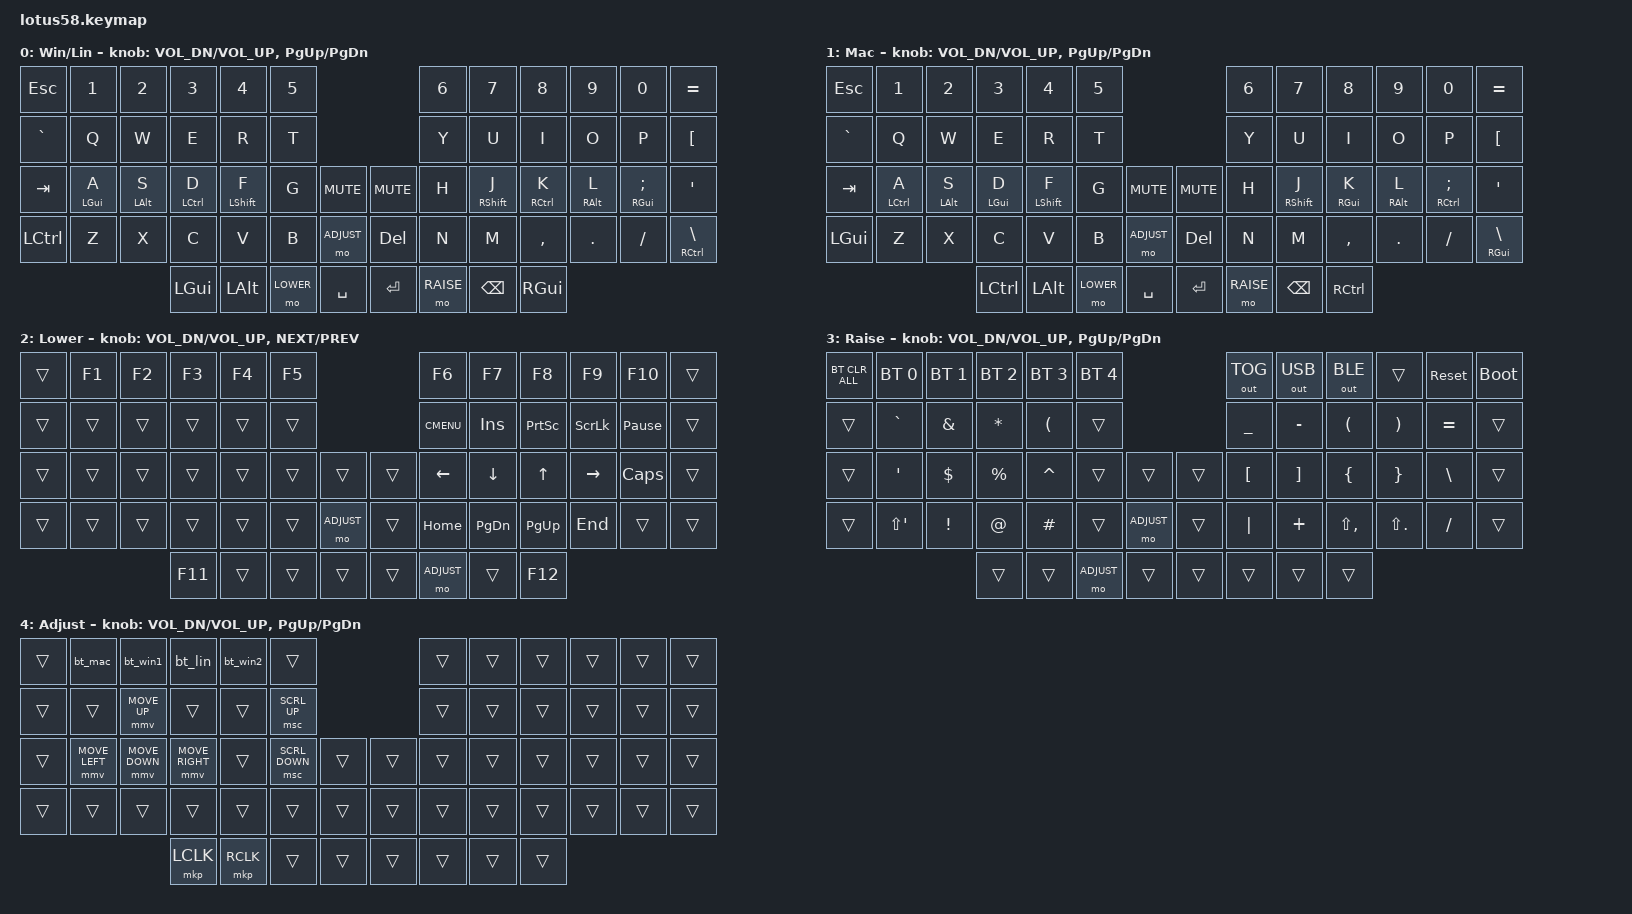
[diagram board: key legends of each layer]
/*
 * Copyright (c) 2022 The ZMK Contributors
 *
 * SPDX-License-Identifier: MIT
 */

#include <behaviors.dtsi>
#include <dt-bindings/zmk/keys.h>
#include <dt-bindings/zmk/bt.h>
#include <dt-bindings/zmk/outputs.h>
#include <dt-bindings/zmk/pointing.h>

#define DEFAULT 0
#define MAC     1
#define LOWER   2
#define RAISE   3
#define ADJUST  4

/ {
    behaviors {
        hml: homerow_mod_left {
            compatible = "zmk,behavior-hold-tap";
            #binding-cells = <2>;
            tapping-term-ms = <200>;
            quick-tap-ms = <125>;
            require-prior-idle-ms = <100>;
            flavor = "balanced";
            hold-trigger-on-release;
            hold-trigger-key-positions = <6 7 8 9 10 11 18 19 20 21 22 23 31 32 33 34 35 36 37 45 46 47 48 49 50 51 52 53 54 55 56 57 58 59>;
            bindings = <&kp>, <&kp>;
        };

        hmr: homerow_mod_right {
            compatible = "zmk,behavior-hold-tap";
            #binding-cells = <2>;
            tapping-term-ms = <200>;
            quick-tap-ms = <125>;
            require-prior-idle-ms = <100>;
            flavor = "balanced";
            hold-trigger-on-release;
            hold-trigger-key-positions = <0 1 2 3 4 5 12 13 14 15 16 17 24 25 26 27 28 29 30 38 39 40 41 42 43 44 52 53 54 55 56 57 58 59>;
            bindings = <&kp>, <&kp>;
        };
    };

    macros {
        bt_mac: bt_mac {
            compatible = "zmk,behavior-macro";
            #binding-cells = <0>;
            bindings = <&bt BT_SEL 0 &to MAC>;
        };
        bt_win1: bt_win1 {
            compatible = "zmk,behavior-macro";
            #binding-cells = <0>;
            bindings = <&bt BT_SEL 1 &to DEFAULT>;
        };
        bt_lin: bt_lin {
            compatible = "zmk,behavior-macro";
            #binding-cells = <0>;
            bindings = <&bt BT_SEL 2 &to DEFAULT>;
        };
        bt_win2: bt_win2 {
            compatible = "zmk,behavior-macro";
            #binding-cells = <0>;
            bindings = <&bt BT_SEL 3 &to DEFAULT>;
        };
    };

    keymap {
        compatible = "zmk,keymap";

        default_layer {
            display-name = "Win/Lin";
// ┌─────────┬─────┬─────┬─────┬──────────┬─────┐                            ┌─────┬──────────┬──────────┬──────────┬──────────┬────────┐
// │   ESC   │  1  │  2  │  3  │    4     │  5  │                            │  6  │    7     │    8     │    9     │    0     │   =    │
// ├─────────┼─────┼─────┼─────┼──────────┼─────┤                            ├─────┼──────────┼──────────┼──────────┼──────────┼────────┤
// │    `    │  Q  │  W  │  E  │    R     │  T  │                            │  Y  │    U     │    I     │    O     │    P     │   [    │
// ├─────────┼─────┼─────┼─────┼──────────┼─────┼──────────┐  ┌─────────────┼─────┼──────────┼──────────┼──────────┼──────────┼────────┤
// │   TAB   │GUI/A│ALT/S│CTL/D│  SHF/F  │  G  │   MUTE   │  │    MUTE     │  H  │  SHF/J  │  CTL/K  │  ALT/L  │  GUI/;  │   '    │
// ├─────────┼─────┼─────┼─────┼──────────┼─────┼──────────┤  ├─────────────┼─────┼──────────┼──────────┼──────────┼──────────┼────────┤
// │  LCTRL  │  Z  │  X  │  C  │    V     │  B  │  ADJUST  │  │     DEL     │  N  │    M     │    ,     │    .     │    /     │ RCTL/\ │
// └─────────┴─────┴─────┴─────┴──────────┴─────┴──────────┘  └─────────────┴─────┴──────────┴──────────┴──────────┴──────────┴────────┘
//                     ┌──────┬──────┬───────┬────────┐      ┌──────┬───────┬──────┬──────┐
//                     │ LGUI │ LALT │ LOWER │  SPC   │      │ ENT  │ RAISE │ BSPC │ RGUI │
//                     └──────┴──────┴───────┴────────┘      └──────┴───────┴──────┴──────┘
            bindings = <
&kp ESC    &kp N1        &kp N2       &kp N3        &kp N4        &kp N5                                   &kp N6  &kp N7        &kp N8        &kp N9       &kp N0          &kp EQUAL
&kp GRAVE  &kp Q         &kp W        &kp E         &kp R         &kp T                                    &kp Y   &kp U         &kp I         &kp O        &kp P           &kp LBKT
&kp TAB    &hml LGUI A   &hml LALT S  &hml LCTRL D  &hml LSHFT F  &kp G   &kp C_MUTE    &kp C_MUTE        &kp H   &hmr RSHFT J  &hmr RCTRL K  &hmr RALT L  &hmr RGUI SEMI  &kp SQT
&kp LCTRL  &kp Z         &kp X        &kp C         &kp V         &kp B   &mo ADJUST     &kp DEL           &kp N   &kp M         &kp COMMA     &kp DOT      &kp FSLH        &mt RCTRL BSLH
                                       &kp LGUI  &kp LALT  &mo LOWER  &kp SPACE    &kp RET  &mo RAISE  &kp BSPC  &kp RGUI
            >;
            sensor-bindings = <&inc_dec_kp C_VOL_DN C_VOL_UP &inc_dec_kp PG_UP PG_DN>;
        };

        mac_layer {
            display-name = "Mac";
// CAGS order: A=Ctl, S=Alt, D=GUI, F=Shft (left); J=Shft, K=GUI, L=Alt, ;=Ctl (right).
// Bottom-left corner: LGUI. Thumbs: LCTRL (was LGUI), RCTRL (was RGUI). Bottom-right mod-tap: RGUI/\.
// ┌─────────┬─────┬─────┬─────┬──────────┬─────┐                            ┌─────┬──────────┬──────────┬──────────┬──────────┬────────┐
// │   ESC   │  1  │  2  │  3  │    4     │  5  │                            │  6  │    7     │    8     │    9     │    0     │   =    │
// ├─────────┼─────┼─────┼─────┼──────────┼─────┤                            ├─────┼──────────┼──────────┼──────────┼──────────┼────────┤
// │    `    │  Q  │  W  │  E  │    R     │  T  │                            │  Y  │    U     │    I     │    O     │    P     │   [    │
// ├─────────┼─────┼─────┼─────┼──────────┼─────┼──────────┐  ┌─────────────┼─────┼──────────┼──────────┼──────────┼──────────┼────────┤
// │   TAB   │CTL/A│ALT/S│GUI/D│  SHF/F  │  G  │   MUTE   │  │    MUTE     │  H  │  SHF/J  │  GUI/K  │  ALT/L  │  CTL/;  │   '    │
// ├─────────┼─────┼─────┼─────┼──────────┼─────┼──────────┤  ├─────────────┼─────┼──────────┼──────────┼──────────┼──────────┼────────┤
// │  LGUI   │  Z  │  X  │  C  │    V     │  B  │  ADJUST  │  │     DEL     │  N  │    M     │    ,     │    .     │    /     │ RGUI/\ │
// └─────────┴─────┴─────┴─────┴──────────┴─────┴──────────┘  └─────────────┴─────┴──────────┴──────────┴──────────┴──────────┴────────┘
//                     ┌───────┬──────┬───────┬────────┐      ┌──────┬───────┬──────┬───────┐
//                     │ LCTRL │ LALT │ LOWER │  SPC   │      │ ENT  │ RAISE │ BSPC │ RCTRL │
//                     └───────┴──────┴───────┴────────┘      └──────┴───────┴──────┴───────┘
            bindings = <
&kp ESC    &kp N1         &kp N2       &kp N3       &kp N4        &kp N5                                   &kp N6  &kp N7        &kp N8       &kp N9       &kp N0           &kp EQUAL
&kp GRAVE  &kp Q          &kp W        &kp E        &kp R         &kp T                                    &kp Y   &kp U         &kp I        &kp O        &kp P            &kp LBKT
&kp TAB    &hml LCTRL A   &hml LALT S  &hml LGUI D  &hml LSHFT F  &kp G   &kp C_MUTE    &kp C_MUTE        &kp H   &hmr RSHFT J  &hmr RGUI K  &hmr RALT L  &hmr RCTRL SEMI  &kp SQT
&kp LGUI   &kp Z          &kp X        &kp C        &kp V         &kp B   &mo ADJUST     &kp DEL           &kp N   &kp M         &kp COMMA    &kp DOT      &kp FSLH         &mt RGUI BSLH
                                        &kp LCTRL  &kp LALT  &mo LOWER  &kp SPACE    &kp RET  &mo RAISE  &kp BSPC  &kp RCTRL
            >;
            sensor-bindings = <&inc_dec_kp C_VOL_DN C_VOL_UP &inc_dec_kp PG_UP PG_DN>;
        };

        lower_layer {
            display-name = "Lower";
// Left side transparent (falls through to default alpha keys).
// Right side: HJKL arrows on home row, Home/PgDn/PgUp/End on Z row.
// ┌─────────┬─────┬─────┬─────┬─────┬─────┐                            ┌───────┬──────┬───────┬──────┬───────┬────────┐
// │         │  F1 │  F2 │  F3 │  F4 │  F5 │                            │  F6   │  F7  │  F8   │  F9  │  F10  │        │
// ├─────────┼─────┼─────┼─────┼─────┼─────┤                            ├───────┼──────┼───────┼──────┼───────┼────────┤
// │         │     │     │     │     │     │                            │ MENU  │ INS  │ PSCR  │ SLCK │ PAUSE │        │
// ├─────────┼─────┼─────┼─────┼─────┼─────┼──────────┐  ┌─────────────┼───────┼──────┼───────┼──────┼───────┼────────┤
// │         │     │     │     │     │     │          │  │             │  ←    │  ↓   │   ↑   │  →   │ CAPS  │        │
// ├─────────┼─────┼─────┼─────┼─────┼─────┼──────────┤  ├─────────────┼───────┼──────┼───────┼──────┼───────┼────────┤
// │         │     │     │     │     │     │  ADJUST  │  │             │ HOME  │ PG↓  │  PG↑  │ END  │       │        │
// └─────────┴─────┴─────┴─────┴─────┴─────┴──────────┘  └─────────────┴───────┴──────┴───────┴──────┴───────┴────────┘
//                     ┌──────┬──────┬───────┬────────┐      ┌──────┬────────┬──────┬──────┐
//                     │  F11 │      │▓▓▓▓▓▓▓│        │      │      │ ADJUST │      │  F12 │
//                     └──────┴──────┴───────┴────────┘      └──────┴────────┴──────┴──────┘
            bindings = <
&trans  &kp F1  &kp F2  &kp F3  &kp F4  &kp F5                          &kp F6       &kp F7    &kp F8     &kp F9    &kp F10         &trans
&trans  &trans  &trans  &trans  &trans  &trans                           &kp K_CMENU  &kp INS   &kp PSCRN  &kp SLCK  &kp PAUSE_BREAK &trans
&trans  &trans  &trans  &trans  &trans  &trans   &trans      &trans      &kp LEFT     &kp DOWN  &kp UP     &kp RIGHT &kp CLCK        &trans
&trans  &trans  &trans  &trans  &trans  &trans   &mo ADJUST  &trans      &kp HOME     &kp PG_DN &kp PG_UP  &kp END   &trans          &trans
                        &kp F11 &trans  &trans   &trans      &trans      &mo ADJUST   &trans    &kp F12
            >;
            sensor-bindings = <&inc_dec_kp C_VOL_DN C_VOL_UP &inc_dec_kp C_NEXT C_PREV>;
        };

        raise_layer {
            display-name = "Raise";
// Symbols verbatim from hillside Layer 2. Left = ` & * ( / ' $ % ^ / " ! @ #
//                                         Right = _ - ( ) = / [ ] { } \ / | + < > /
// BT and system on number row.
// ┌───────────┬───────┬───────┬───────┬───────┬───────┐                         ┌─────────┬────────┬────────┬──────┬────────┬──────────┐
// │  BT CLR   │  BT1  │  BT2  │  BT3  │  BT4  │  BT5  │                         │ OUT TOG │OUT USB │OUT BLE │      │ RESET  │  FLASH   │
// ├───────────┼───────┼───────┼───────┼───────┼───────┤                         ├─────────┼────────┼────────┼──────┼────────┼──────────┤
// │           │   `   │   &   │   *   │   (   │       │                         │    _    │   -    │   (    │  )   │   =    │          │
// ├───────────┼───────┼───────┼───────┼───────┼───────┼──────────┐ ┌────────────┼─────────┼────────┼────────┼──────┼────────┼──────────┤
// │           │   '   │   $   │   %   │   ^   │       │          │ │            │    [    │   ]    │   {    │  }   │   \    │          │
// ├───────────┼───────┼───────┼───────┼───────┼───────┼──────────┤ ├────────────┼─────────┼────────┼────────┼──────┼────────┼──────────┤
// │           │   "   │   !   │   @   │   #   │       │  ADJUST  │ │            │    |    │   +    │   <    │  >   │   /    │          │
// └───────────┴───────┴───────┴───────┴───────┴───────┴──────────┘ └────────────┴─────────┴────────┴────────┴──────┴────────┴──────────┘
//                         ┌──────┬──────┬────────┬──────┐      ┌──────┬──────┬──────┬──────┐
//                         │      │      │ ADJUST │      │      │      │▓▓▓▓▓▓│      │      │
//                         └──────┴──────┴────────┴──────┘      └──────┴──────┴──────┴──────┘
            bindings = <
&bt BT_CLR_ALL &bt BT_SEL 0 &bt BT_SEL 1 &bt BT_SEL 2 &bt BT_SEL 3 &bt BT_SEL 4                      &out OUT_TOG &out OUT_USB &out OUT_BLE &trans      &sys_reset  &bootloader
&trans         &kp GRAVE    &kp AMPS     &kp STAR     &kp LPAR     &trans                              &kp UNDER    &kp MINUS    &kp LPAR     &kp RPAR    &kp EQUAL   &trans
&trans         &kp SQT      &kp DLLR     &kp PRCNT    &kp CARET    &trans   &trans       &trans        &kp LBKT     &kp RBKT     &kp LBRC     &kp RBRC    &kp BSLH    &trans
&trans         &kp LS(SQT)  &kp EXCL     &kp AT       &kp HASH     &trans   &mo ADJUST   &trans        &kp PIPE     &kp PLUS     &kp LS(COMMA) &kp LS(DOT) &kp FSLH  &trans
                                         &trans       &trans       &mo ADJUST &trans     &trans        &trans       &trans       &trans
            >;
            sensor-bindings = <&inc_dec_kp C_VOL_DN C_VOL_UP &inc_dec_kp PG_UP PG_DN>;
        };

        adjust_layer {
            display-name = "Adjust";
// BT profile+layer macros on top row: [Mac] [Win1] [Lin] [Win2]
// Mouse movement on middle rows (unchanged).
// ┌─────────┬──────────┬──────────┬──────────┬──────────┬───────┐                         ┌───────┬───────┬───────┬───────┬───────┬───────┐
// │         │ BT0→Mac  │ BT1→Win  │ BT2→Lin  │ BT3→Win  │       │                         │       │       │       │       │       │       │
// ├─────────┼──────────┼──────────┼──────────┼──────────┼───────┤                         ├───────┼───────┼───────┼───────┼───────┼───────┤
// │         │          │  MOUSE↑  │          │          │ SCR↑  │                         │       │       │       │       │       │       │
// ├─────────┼──────────┼──────────┼──────────┼──────────┼───────┼──────────┐ ┌────────────┼───────┼───────┼───────┼───────┼───────┼───────┤
// │         │  MOUSE←  │  MOUSE↓  │  MOUSE→  │          │ SCR↓  │          │ │            │       │       │       │       │       │       │
// ├─────────┼──────────┼──────────┼──────────┼──────────┼───────┼──────────┤ ├────────────┼───────┼───────┼───────┼───────┼───────┼───────┤
// │         │          │          │          │          │       │          │ │            │       │       │       │       │       │       │
// └─────────┴──────────┴──────────┴──────────┴──────────┴───────┴──────────┘ └────────────┴───────┴───────┴───────┴───────┴───────┴───────┘
//                           ┌────────┬─────────┬───────┬───────┐      ┌───────┬───────┬───────┬───────┐
//                           │ LCLICK │ RCLICK  │       │       │      │       │       │       │       │
//                           └────────┴─────────┴───────┴───────┘      └───────┴───────┴───────┴───────┘
            bindings = <
&trans  &bt_mac         &bt_win1        &bt_lin          &bt_win2  &trans                          &trans  &trans  &trans  &trans  &trans  &trans
&trans  &trans          &mmv MOVE_UP    &trans           &trans    &msc SCRL_UP                    &trans  &trans  &trans  &trans  &trans  &trans
&trans  &mmv MOVE_LEFT  &mmv MOVE_DOWN  &mmv MOVE_RIGHT  &trans    &msc SCRL_DOWN  &trans  &trans  &trans  &trans  &trans  &trans  &trans  &trans
&trans  &trans          &trans          &trans           &trans    &trans          &trans  &trans  &trans  &trans  &trans  &trans  &trans  &trans
                                        &mkp LCLK        &mkp RCLK  &trans  &trans  &trans  &trans  &trans  &trans
            >;
            sensor-bindings = <&inc_dec_kp C_VOL_DN C_VOL_UP &inc_dec_kp PG_UP PG_DN>;
        };
    };
};
